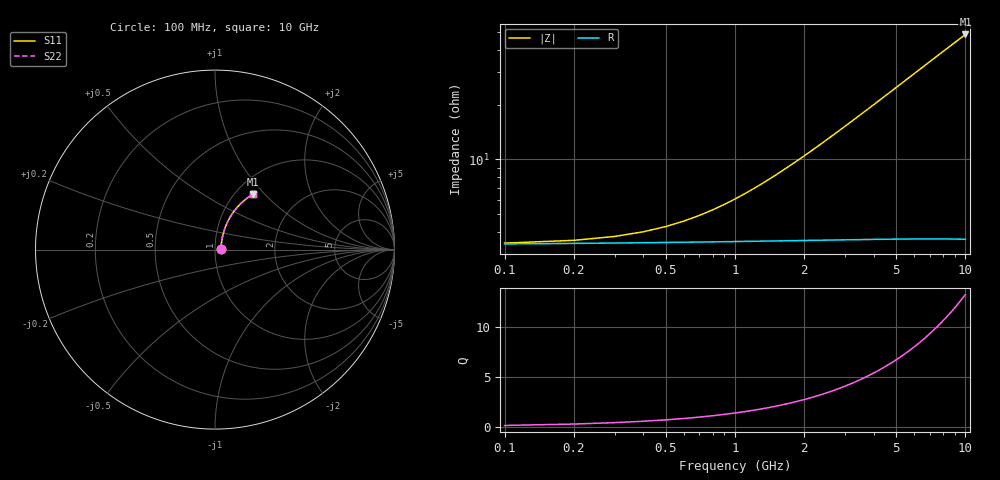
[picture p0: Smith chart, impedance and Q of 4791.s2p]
# Hz S RI R 50.00
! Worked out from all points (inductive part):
!   100 points, 100 MHz to 10 GHz, reference 50 ohm
!   read as one part in series: L = 782 pH near 2.2 GHz
!   highest Q = 13.2 at 10 GHz (marker M1), where L = 769 pH
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1e8  0.0333 0.00394  0.9667 -0.00525  0.9667 -0.00525  0.0333 0.00394
2e8  0.0335 0.00788  0.9665 -0.0105  0.9665 -0.0105  0.0335 0.00788
3e8  0.0338 0.0118  0.9662 -0.0158  0.9662 -0.0158  0.0338 0.0118
4e8  0.0341 0.0157  0.9659 -0.021  0.9659 -0.021  0.0341 0.0157
6e8  0.0347 0.0236  0.9653 -0.0315  0.9653 -0.0315  0.0347 0.0236
1e9  0.0364 0.0392  0.9635 -0.0524  0.9635 -0.0524  0.0364 0.0392
1.3e9  0.038 0.0509  0.9618 -0.068  0.9618 -0.068  0.038 0.0509
1.5e9  0.0393 0.0586  0.9605 -0.0783  0.9605 -0.0783  0.0393 0.0586
1.8e9  0.0415 0.0702  0.9582 -0.0938  0.9582 -0.0938  0.0415 0.0702
2.1e9  0.0441 0.0816  0.9555 -0.1092  0.9555 -0.1092  0.0441 0.0816
2.5e9  0.0481 0.0967  0.9513 -0.1295  0.9513 -0.1295  0.0481 0.0967
2.9e9  0.0527 0.1115  0.9465 -0.1496  0.9465 -0.1496  0.0527 0.1115
3.4e9  0.0593 0.1297  0.9396 -0.1743  0.9396 -0.1743  0.0593 0.1297
3.8e9  0.0653 0.1439  0.9334 -0.1938  0.9334 -0.1938  0.0653 0.1439
4.2e9  0.0718 0.1577  0.9266 -0.2129  0.9266 -0.2129  0.0718 0.1577
4.6e9  0.0788 0.1712  0.9193 -0.2317  0.9193 -0.2317  0.0788 0.1712
5.1e9  0.0883 0.1876  0.9093 -0.2546  0.9093 -0.2546  0.0883 0.1876
5.9e9  0.1052 0.2124  0.8917 -0.29  0.8917 -0.29  0.1052 0.2124
6.7e9  0.1237 0.2354  0.8723 -0.3236  0.8723 -0.3236  0.1237 0.2354
7.5e9  0.1437 0.2565  0.8513 -0.3554  0.8513 -0.3554  0.1437 0.2565
8.4e9  0.1677 0.2778  0.8259 -0.3887  0.8259 -0.3887  0.1677 0.2778
1e10  0.2133 0.3094  0.7776 -0.4418  0.7776 -0.4418  0.2133 0.3094
